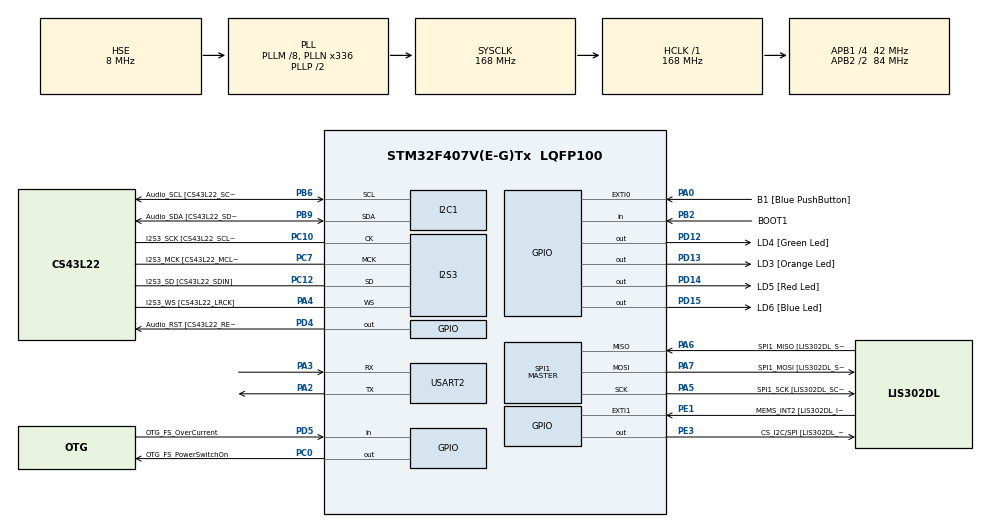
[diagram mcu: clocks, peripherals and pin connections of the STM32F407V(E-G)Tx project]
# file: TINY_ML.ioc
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ADC1.Channel-0\#ChannelRegularConversion=ADC_CHANNEL_TEMPSENSOR
ADC1.InjNumberOfConversion=0
ADC1.NbrOfConversionFlag=1
ADC1.Rank-0\#ChannelRegularConversion=1
ADC1.SamplingTime-0\#ChannelRegularConversion=ADC_SAMPLETIME_3CYCLES
ADC1.master=1
I2S3.AudioFreq-Half_Duplex_Master=I2S_AUDIOFREQ_96K
I2S3.ErrorAudioFreq=-2.34 %
I2S3.ErrorAudioFreq-Half_Duplex_Master=0.8 %
I2S3.FullDuplexMode=I2S_FULLDUPLEXMODE_DISABLE
I2S3.Instance=SPI$Index
I2S3.RealAudioFreq=93.75 KHz
I2S3.RealAudioFreq-Half_Duplex_Master=96.774 KHz
I2S3.VirtualMode=I2S_MODE_MASTER
Mcu.Family=STM32F4
Mcu.Name=STM32F407V(E-G)Tx
Mcu.Package=LQFP100
NVIC.PriorityGroup=NVIC_PRIORITYGROUP_0
PA0-WKUP.GPIO_Label=B1 [Blue PushButton]
PA0-WKUP.GPIO_ModeDefaultEXTI=GPIO_MODE_EVT_RISING
PA0-WKUP.GPIO_PuPd=GPIO_NOPULL
PA0-WKUP.Signal=GPXTI0
PA10.GPIO_Label=OTG_FS_ID
PA10.GPIO_Mode=GPIO_MODE_AF_PP
PA10.GPIO_PuPd=GPIO_NOPULL
PA10.GPIO_Speed=GPIO_SPEED_FREQ_LOW
PA10.Signal=USB_OTG_FS_ID
PA11.GPIO_Mode=GPIO_MODE_AF_PP
PA11.GPIO_PuPd=GPIO_NOPULL
PA11.GPIO_Speed=GPIO_SPEED_FREQ_VERY_HIGH
PA11.Signal=USB_OTG_FS_DM
PA12.GPIO_Mode=GPIO_MODE_AF_PP
PA12.GPIO_PuPd=GPIO_NOPULL
PA12.GPIO_Speed=GPIO_SPEED_FREQ_VERY_HIGH
PA12.Signal=USB_OTG_FS_DP
PA13.GPIO_Label=SWDIO
PA13.Mode=Serial_Wire
PA13.Signal=SYS_JTMS-SWDIO
PA14.GPIO_Label=SWCLK
PA14.Mode=Serial_Wire
PA14.Signal=SYS_JTCK-SWCLK
PA2.Mode=Asynchronous
PA2.Signal=USART2_TX
PA3.Mode=Asynchronous
PA3.Signal=USART2_RX
PA4.GPIO_Label=I2S3_WS [CS43L22_LRCK]
PA4.GPIO_Mode=GPIO_MODE_AF_PP
PA4.GPIO_PuPd=GPIO_NOPULL
PA4.GPIO_Speed=GPIO_SPEED_FREQ_LOW
PA4.Mode=Half_Duplex_Master
PA4.Signal=I2S3_WS
PA5.GPIO_Label=SPI1_SCK [LIS302DL_SCL/SPC]
PA5.GPIO_Mode=GPIO_MODE_AF_PP
PA5.GPIO_PuPd=GPIO_NOPULL
PA5.GPIO_Speed=GPIO_SPEED_FREQ_LOW
PA5.Mode=Full_Duplex_Master
PA5.Signal=SPI1_SCK
PA6.GPIO_Label=SPI1_MISO [LIS302DL_SDO]
PA6.GPIO_Mode=GPIO_MODE_AF_PP
PA6.GPIO_PuPd=GPIO_NOPULL
PA6.GPIO_Speed=GPIO_SPEED_FREQ_LOW
PA6.Mode=Full_Duplex_Master
PA6.Signal=SPI1_MISO
PA7.GPIO_Label=SPI1_MOSI [LIS302DL_SDA/SDI/SDO]
PA7.GPIO_Mode=GPIO_MODE_AF_PP
PA7.GPIO_PuPd=GPIO_NOPULL
PA7.GPIO_Speed=GPIO_SPEED_FREQ_LOW
PA7.Mode=Full_Duplex_Master
PA7.Signal=SPI1_MOSI
PB10.GPIO_Label=CLK_IN [MP45DT02_CLK]
PB10.GPIO_Mode=GPIO_MODE_AF_PP
PB10.GPIO_PuPd=GPIO_NOPULL
PB10.GPIO_Speed=GPIO_SPEED_FREQ_LOW
PB10.Signal=I2S2_CK
PB2.GPIO_Label=BOOT1
PB2.GPIO_Mode=GPIO_MODE_INPUT
PB2.GPIO_PuPd=GPIO_NOPULL
PB2.Signal=GPIO_Input
PB3.GPIO_Label=SWO
PB3.Signal=SYS_JTDO-SWO
PB6.GPIO_Label=Audio_SCL [CS43L22_SCL]
PB6.GPIO_Mode=GPIO_MODE_AF_OD
PB6.GPIO_Pu=GPIO_PULLUP
PB6.GPIO_PuPd=GPIO_NOPULL
PB6.GPIO_Speed=GPIO_SPEED_FREQ_LOW
PB6.Mode=I2C
PB6.Signal=I2C1_SCL
PB9.GPIO_Label=Audio_SDA [CS43L22_SDA]
PB9.GPIO_Mode=GPIO_MODE_AF_OD
PB9.GPIO_Pu=GPIO_PULLUP
PB9.GPIO_PuPd=GPIO_NOPULL
PB9.GPIO_Speed=GPIO_SPEED_FREQ_LOW
PB9.Mode=I2C
PB9.Signal=I2C1_SDA
PC0.GPIO_Label=OTG_FS_PowerSwitchOn
PC0.GPIO_PuPd=GPIO_NOPULL
PC0.GPIO_Speed=GPIO_SPEED_FREQ_LOW
PC0.PinState=GPIO_PIN_SET
PC0.Signal=GPIO_Output
PC10.GPIO_Label=I2S3_SCK [CS43L22_SCLK]
PC10.GPIO_Mode=GPIO_MODE_AF_PP
PC10.GPIO_PuPd=GPIO_NOPULL
PC10.GPIO_Speed=GPIO_SPEED_FREQ_LOW
PC10.Mode=Half_Duplex_Master
PC10.Signal=I2S3_CK
PC12.GPIO_Label=I2S3_SD [CS43L22_SDIN]
PC12.GPIO_Mode=GPIO_MODE_AF_PP
PC12.GPIO_PuPd=GPIO_NOPULL
PC12.GPIO_Speed=GPIO_SPEED_FREQ_LOW
PC12.Mode=Half_Duplex_Master
PC12.Signal=I2S3_SD
PC14-OSC32_IN.GPIO_Label=PC14-OSC32_IN
PC14-OSC32_IN.Mode=LSE-External-Oscillator
PC14-OSC32_IN.Signal=RCC_OSC32_IN
PC15-OSC32_OUT.GPIO_Label=PC15-OSC32_OUT
PC15-OSC32_OUT.Mode=LSE-External-Oscillator
PC15-OSC32_OUT.Signal=RCC_OSC32_OUT
PC3.GPIO_Label=PDM_OUT [MP45DT02_DOUT]
PC3.GPIO_Mode=GPIO_MODE_AF_PP
PC3.GPIO_PuPd=GPIO_NOPULL
PC3.GPIO_Speed=GPIO_SPEED_FREQ_LOW
PC3.Signal=I2S2_SD
PC7.GPIO_Label=I2S3_MCK [CS43L22_MCLK]
PC7.GPIO_Mode=GPIO_MODE_AF_PP
PC7.GPIO_PuPd=GPIO_NOPULL
PC7.GPIO_Speed=GPIO_SPEED_FREQ_LOW
PC7.Mode=Master_Clock_Activated
PC7.Signal=I2S3_MCK
PD12.GPIO_Label=LD4 [Green Led]
PD12.GPIO_PuPd=GPIO_NOPULL
PD12.GPIO_Speed=GPIO_SPEED_FREQ_LOW
PD12.Signal=GPIO_Output
PD13.GPIO_Label=LD3 [Orange Led]
PD13.GPIO_PuPd=GPIO_NOPULL
PD13.GPIO_Speed=GPIO_SPEED_FREQ_LOW
PD13.Signal=GPIO_Output
PD14.GPIO_Label=LD5 [Red Led]
PD14.GPIO_PuPd=GPIO_NOPULL
PD14.GPIO_Speed=GPIO_SPEED_FREQ_LOW
PD14.Signal=GPIO_Output
PD15.GPIO_Label=LD6 [Blue Led]
PD15.GPIO_PuPd=GPIO_NOPULL
PD15.GPIO_Speed=GPIO_SPEED_FREQ_LOW
PD15.Signal=GPIO_Output
PD4.GPIO_Label=Audio_RST [CS43L22_RESET]
PD4.GPIO_PuPd=GPIO_NOPULL
PD4.GPIO_Speed=GPIO_SPEED_FREQ_LOW
PD4.Signal=GPIO_Output
PD5.GPIO_Label=OTG_FS_OverCurrent
PD5.GPIO_Mode=GPIO_MODE_INPUT
PD5.GPIO_PuPd=GPIO_NOPULL
PD5.Signal=GPIO_Input
PE1.GPIO_Label=MEMS_INT2 [LIS302DL_INT2]
PE1.GPIO_ModeDefaultEXTI=GPIO_MODE_EVT_RISING
PE1.GPIO_PuPd=GPIO_NOPULL
PE1.Signal=GPXTI1
PE3.GPIO_Label=CS_I2C/SPI [LIS302DL_CS_I2C/SPI]
PE3.GPIO_PuPd=GPIO_NOPULL
PE3.GPIO_Speed=GPIO_SPEED_FREQ_LOW
PE3.Signal=GPIO_Output
PH0-OSC_IN.GPIO_Label=PH0-OSC_IN
PH0-OSC_IN.Mode=HSE-External-Oscillator
PH0-OSC_IN.Signal=RCC_OSC_IN
PH1-OSC_OUT.GPIO_Label=PH1-OSC_OUT
PH1-OSC_OUT.Mode=HSE-External-Oscillator
PH1-OSC_OUT.Signal=RCC_OSC_OUT
ProjectManager.HeapSize=0x800
ProjectManager.StackSize=0x800
ProjectManager.TargetToolchain=STM32CubeIDE
RCC.48MHZClocksFreq_Value=48000000
RCC.AHBFreq_Value=168000000
RCC.APB1CLKDivider=RCC_HCLK_DIV4
RCC.APB1Freq_Value=42000000
RCC.APB1TimFreq_Value=84000000
RCC.APB2CLKDivider=RCC_HCLK_DIV2
RCC.APB2Freq_Value=84000000
RCC.APB2TimFreq_Value=168000000
RCC.CortexFreq_Value=168000000
RCC.HCLKFreq_Value=168000000
RCC.HSE_VALUE=8000000
RCC.HSI_VALUE=16000000
RCC.PLLM=8
RCC.PLLN=336
RCC.PLLQ=7
RCC.PLLSourceVirtual=RCC_PLLSOURCE_HSE
RCC.SYSCLKFreq_VALUE=168000000
RCC.SYSCLKSource=RCC_SYSCLKSOURCE_PLLCLK
RCC.VCOOutputFreq_Value=336000000
SPI1.BaudRatePrescaler-Full_Duplex_Master=SPI_BAUDRATEPRESCALER_2
SPI1.CalculateBaudRate-Full_Duplex_Master=42.0 MBits/s
SPI1.Direction=SPI_DIRECTION_2LINES
SPI1.Mode=SPI_MODE_MASTER
SPI1.Mode-Full_Duplex_Master=SPI_MODE_MASTER
SPI1.VirtualType=VM_MASTER
STMicroelectronics.X-CUBE-AI.10.2.0.ActivationBufferSizeList=1568
STMicroelectronics.X-CUBE-AI.10.2.0.ActivationBuffers=pool0
STMicroelectronics.X-CUBE-AI.10.2.0.ActivationNames=pool0
STMicroelectronics.X-CUBE-AI.10.2.0.ActivationSizes=AI_NETWORK_DATA_ACTIVATION_1_SIZE
STMicroelectronics.X-CUBE-AI.10.2.0.ApplicationCcDeviceJjApplication=ApplicationTemplate
STMicroelectronics.X-CUBE-AI.10.2.0.HeapSize=0x800
STMicroelectronics.X-CUBE-AI.10.2.0.InternalRamActivationBufferMaxSize=AI_NETWORK_DATA_ACTIVATIONS_SIZE
STMicroelectronics.X-CUBE-AI.10.2.0.LatestDirectoryUsed-cd3e9f3ec1306564e1af1a7b050c598ac2e4dcf55a18b86473ae98bc0757c0e3=C\:\\Users\\DELL\\Downloads
STMicroelectronics.X-CUBE-AI.10.2.0.MaximumNumberOfInputLayer=1
STMicroelectronics.X-CUBE-AI.10.2.0.MaximumNumberOfOutputLayer=1
STMicroelectronics.X-CUBE-AI.10.2.0.MaximumSizeOfInputLayer=1
STMicroelectronics.X-CUBE-AI.10.2.0.MaximumSizeOfOutputLayer=1
STMicroelectronics.X-CUBE-AI.10.2.0.ModelActualCompression-cd3e9f3ec1306564e1af1a7b050c598ac2e4dcf55a18b86473ae98bc0757c0e3=0.0
STMicroelectronics.X-CUBE-AI.10.2.0.ModelCompression-cd3e9f3ec1306564e1af1a7b050c598ac2e4dcf55a18b86473ae98bc0757c0e3=None
STMicroelectronics.X-CUBE-AI.10.2.0.ModelFlashOccupation-cd3e9f3ec1306564e1af1a7b050c598ac2e4dcf55a18b86473ae98bc0757c0e3=10712
STMicroelectronics.X-CUBE-AI.10.2.0.ModelHashList=cd3e9f3ec1306564e1af1a7b050c598ac2e4dcf55a18b86473ae98bc0757c0e3
STMicroelectronics.X-CUBE-AI.10.2.0.ModelKind-cd3e9f3ec1306564e1af1a7b050c598ac2e4dcf55a18b86473ae98bc0757c0e3=TFLITE
STMicroelectronics.X-CUBE-AI.10.2.0.ModelMacc-cd3e9f3ec1306564e1af1a7b050c598ac2e4dcf55a18b86473ae98bc0757c0e3=160
STMicroelectronics.X-CUBE-AI.10.2.0.ModelName-cd3e9f3ec1306564e1af1a7b050c598ac2e4dcf55a18b86473ae98bc0757c0e3=network
STMicroelectronics.X-CUBE-AI.10.2.0.ModelNameList=network
STMicroelectronics.X-CUBE-AI.10.2.0.ModelRamOccupation-cd3e9f3ec1306564e1af1a7b050c598ac2e4dcf55a18b86473ae98bc0757c0e3=1568
STMicroelectronics.X-CUBE-AI.10.2.0.ModelStructureFile-cd3e9f3ec1306564e1af1a7b050c598ac2e4dcf55a18b86473ae98bc0757c0e3=C\:\\Users\\DELL\\Downloads\\model.tflite
STMicroelectronics.X-CUBE-AI.10.2.0.ModelType-cd3e9f3ec1306564e1af1a7b050c598ac2e4dcf55a18b86473ae98bc0757c0e3=STM32Cube.AI MCU runtime
STMicroelectronics.X-CUBE-AI.10.2.0.ReadyForCodeGeneration=true
STMicroelectronics.X-CUBE-AI.10.2.0.StackSize=0x800
STMicroelectronics.X-CUBE-AI.10.2.0.WorkingBufferStartAddrList=0xFFFFFFFF
STMicroelectronics.X-CUBE-AI.10.2.0.XAaCUBEAaAICcArtificialOoIntelligenceJjCore=true
STMicroelectronics.X-CUBE-AI.10.2.0.copyWeightToRam=false
STMicroelectronics.X-CUBE-AI.10.2.0.customLayerConfigEnabled=false
STMicroelectronics.X-CUBE-AI.10.2.0.noOnnxIoTranspose=false
STMicroelectronics.X-CUBE-AI.10.2.0.useInputAllocation=true
STMicroelectronics.X-CUBE-AI.10.2.0.useOutputAllocation=true
USART2.VirtualMode=VM_ASYNC
VP_ADC1_TempSens_Input.Mode=IN-TempSens
VP_ADC1_Vref_Input.Mode=IN-Vrefint
VP_STMicroelectronics.X-CUBE-AI_VS_ArtificialOoIntelligenceJjXAaCUBEAaAI_10.2.0.Mode=ArtificialOoIntelligenceJjXAaCUBEAaAI
VP_STMicroelectronics.X-CUBE-AI_VS_DeviceJjApplication_10.2.0.Mode=DeviceJjApplication
board=STM32F407G-DISC1

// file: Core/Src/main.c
/* USER CODE BEGIN Header */
/* USER CODE END Header */
#include "main.h"
#include "app_x-cube-ai.h"

/* USER CODE BEGIN Includes */
#include <string.h>
#include <stdio.h>
#include "hardware_profile.h"
#include "adaptation_engine.h"
#include "model_manager.h"
/* USER CODE END Includes */

ADC_HandleTypeDef hadc1;
I2C_HandleTypeDef hi2c1;
I2S_HandleTypeDef hi2s3;
SPI_HandleTypeDef hspi1;
UART_HandleTypeDef huart2;

void SystemClock_Config(void);
static void MX_GPIO_Init(void);
static void MX_ADC1_Init(void);
static void MX_I2C1_Init(void);
static void MX_I2S3_Init(void);
static void MX_SPI1_Init(void);
static void MX_USART2_UART_Init(void);

int main(void)
{
    HAL_Init();
    SystemClock_Config();
    MX_GPIO_Init();
    MX_ADC1_Init();
    MX_I2C1_Init();
    MX_I2S3_Init();
    MX_SPI1_Init();
    MX_USART2_UART_Init();
    MX_X_CUBE_AI_Init();

    /* USER CODE BEGIN 2 */
    HardwareProfiler_Init();
    AdaptationEngine_Init();
    ModelManager_Init();

    char start[] = "STM32 USART2 START\r\n";
    HAL_UART_Transmit(&huart2, (uint8_t*)start, strlen(start), HAL_MAX_DELAY);

    int ai_ready = 0;
    if (ModelManager_TFLM_Init()) {
        ai_ready = 1;
        char ok[] = "AI INIT OK\r\n";
        HAL_UART_Transmit(&huart2, (uint8_t*)ok, strlen(ok), HAL_MAX_DELAY);
    } else {
        char fail[] = "AI INIT FAILED\r\n";
        HAL_UART_Transmit(&huart2, (uint8_t*)fail, strlen(fail), HAL_MAX_DELAY);
    }
    /* USER CODE END 2 */

    /* USER CODE BEGIN WHILE */
    while (1)
    {
        char msg[260];

        HardwareProfiler_Sample();
        HardwareState hw = HardwareProfiler_GetState();

        ModelVariant rule_selected = AdaptationEngine_Decide(hw);
        const char*  rule_model    = AdaptationEngine_ToString(rule_selected);

        if (ai_ready) {
            int ok = ModelManager_RunInference(
                hw.temperature_c,
                hw.cpu_load_percent);

            if (ok) {
                float o0 = ModelManager_GetOutput(0);
                float o1 = ModelManager_GetOutput(1);
                float o2 = ModelManager_GetOutput(2);

                int   pred = 0;
                float conf = o0;
                if (o1 > conf) { conf = o1; pred = 1; }
                if (o2 > conf) { conf = o2; pred = 2; }

                const char* ai_model =
                    (pred == 0) ? "STANDARD_INT8"  :
                    (pred == 1) ? "PRUNED_VARIANT"  :
                                  "MIXED_PRECISION";

                ModelVariant final_decision;
                const char*  decision_src;

                if (conf >= 0.75f) {
                    final_decision = (ModelVariant)pred;
                    decision_src   = "AI";
                } else {
                    final_decision = rule_selected;
                    decision_src   = "RULE";
                }

//                const char* conf_label =
//                    (conf > 0.85f) ? "High"   :
//                    (conf > 0.60f) ? "Medium" : "Low";

                sprintf(msg,
                    "[HW] T=%.2fC | V=%.2fV | CPU=%.2f%% | "
                    "AI=%s(%.3f) | Rule=%s | Decided=%s | Src=%s\r\n",
                    hw.temperature_c, hw.vcc_volts, hw.cpu_load_percent,
                    ai_model, conf,
                    rule_model,
                    AdaptationEngine_ToString(final_decision),
                    decision_src);
            } else {
                sprintf(msg,
                    "[HW] T=%.2fC | V=%.2fV | CPU=%.2f%% | "
                    "Rule=%s | AI=FAILED\r\n",
                    hw.temperature_c, hw.vcc_volts, hw.cpu_load_percent,
                    rule_model);
            }
        } else {
            sprintf(msg,
                "[HW] T=%.2fC | V=%.2fV | CPU=%.2f%% | "
                "Rule=%s | AI=NOT_READY\r\n",
                hw.temperature_c, hw.vcc_volts, hw.cpu_load_percent,
                rule_model);
        }

        HAL_UART_Transmit(&huart2, (uint8_t*)msg, strlen(msg), HAL_MAX_DELAY);
        HAL_GPIO_TogglePin(GPIOD, GPIO_PIN_12);
        HAL_Delay(2000);
    }
    /* USER CODE END WHILE */
}

void SystemClock_Config(void)
{
    RCC_OscInitTypeDef RCC_OscInitStruct = {0};
    RCC_ClkInitTypeDef RCC_ClkInitStruct = {0};
    __HAL_RCC_PWR_CLK_ENABLE();
    __HAL_PWR_VOLTAGESCALING_CONFIG(PWR_REGULATOR_VOLTAGE_SCALE1);
    RCC_OscInitStruct.OscillatorType = RCC_OSCILLATORTYPE_HSE;
    RCC_OscInitStruct.HSEState       = RCC_HSE_ON;
    RCC_OscInitStruct.PLL.PLLState   = RCC_PLL_ON;
    RCC_OscInitStruct.PLL.PLLSource  = RCC_PLLSOURCE_HSE;
    RCC_OscInitStruct.PLL.PLLM       = 8;
    RCC_OscInitStruct.PLL.PLLN       = 336;
    RCC_OscInitStruct.PLL.PLLP       = RCC_PLLP_DIV2;
    RCC_OscInitStruct.PLL.PLLQ       = 7;
    if (HAL_RCC_OscConfig(&RCC_OscInitStruct) != HAL_OK) Error_Handler();
    RCC_ClkInitStruct.ClockType      = RCC_CLOCKTYPE_HCLK | RCC_CLOCKTYPE_SYSCLK
                                     | RCC_CLOCKTYPE_PCLK1 | RCC_CLOCKTYPE_PCLK2;
    RCC_ClkInitStruct.SYSCLKSource   = RCC_SYSCLKSOURCE_PLLCLK;
    RCC_ClkInitStruct.AHBCLKDivider  = RCC_SYSCLK_DIV1;
    RCC_ClkInitStruct.APB1CLKDivider = RCC_HCLK_DIV4;
    RCC_ClkInitStruct.APB2CLKDivider = RCC_HCLK_DIV2;
    if (HAL_RCC_ClockConfig(&RCC_ClkInitStruct, FLASH_LATENCY_5) != HAL_OK)
        Error_Handler();
}

static void MX_ADC1_Init(void)
{
    ADC_ChannelConfTypeDef sConfig = {0};
    hadc1.Instance                   = ADC1;
    hadc1.Init.ClockPrescaler        = ADC_CLOCK_SYNC_PCLK_DIV4;
    hadc1.Init.Resolution            = ADC_RESOLUTION_12B;
    hadc1.Init.ScanConvMode          = DISABLE;
    hadc1.Init.ContinuousConvMode    = DISABLE;
    hadc1.Init.DiscontinuousConvMode = DISABLE;
    hadc1.Init.ExternalTrigConvEdge  = ADC_EXTERNALTRIGCONVEDGE_NONE;
    hadc1.Init.ExternalTrigConv      = ADC_SOFTWARE_START;
    hadc1.Init.DataAlign             = ADC_DATAALIGN_RIGHT;
    hadc1.Init.NbrOfConversion       = 1;
    hadc1.Init.DMAContinuousRequests = DISABLE;
    hadc1.Init.EOCSelection          = ADC_EOC_SINGLE_CONV;
    if (HAL_ADC_Init(&hadc1) != HAL_OK) Error_Handler();
    sConfig.Channel      = ADC_CHANNEL_TEMPSENSOR;
    sConfig.Rank         = 1;
    sConfig.SamplingTime = ADC_SAMPLETIME_3CYCLES;
    if (HAL_ADC_ConfigChannel(&hadc1, &sConfig) != HAL_OK) Error_Handler();
}

static void MX_I2C1_Init(void)
{
    hi2c1.Instance             = I2C1;
    hi2c1.Init.ClockSpeed      = 100000;
    hi2c1.Init.DutyCycle       = I2C_DUTYCYCLE_2;
    hi2c1.Init.OwnAddress1     = 0;
    hi2c1.Init.AddressingMode  = I2C_ADDRESSINGMODE_7BIT;
    hi2c1.Init.DualAddressMode = I2C_DUALADDRESS_DISABLE;
    hi2c1.Init.OwnAddress2     = 0;
    hi2c1.Init.GeneralCallMode = I2C_GENERALCALL_DISABLE;
    hi2c1.Init.NoStretchMode   = I2C_NOSTRETCH_DISABLE;
    if (HAL_I2C_Init(&hi2c1) != HAL_OK) Error_Handler();
}

static void MX_I2S3_Init(void)
{
    hi2s3.Instance            = SPI3;
    hi2s3.Init.Mode           = I2S_MODE_MASTER_TX;
    hi2s3.Init.Standard       = I2S_STANDARD_PHILIPS;
    hi2s3.Init.DataFormat     = I2S_DATAFORMAT_16B;
    hi2s3.Init.MCLKOutput     = I2S_MCLKOUTPUT_ENABLE;
    hi2s3.Init.AudioFreq      = I2S_AUDIOFREQ_96K;
    hi2s3.Init.CPOL           = I2S_CPOL_LOW;
    hi2s3.Init.ClockSource    = I2S_CLOCK_PLL;
    hi2s3.Init.FullDuplexMode = I2S_FULLDUPLEXMODE_DISABLE;
    if (HAL_I2S_Init(&hi2s3) != HAL_OK) Error_Handler();
}

static void MX_SPI1_Init(void)
{
    hspi1.Instance               = SPI1;
    hspi1.Init.Mode              = SPI_MODE_MASTER;
    hspi1.Init.Direction         = SPI_DIRECTION_2LINES;
    hspi1.Init.DataSize          = SPI_DATASIZE_8BIT;
    hspi1.Init.CLKPolarity       = SPI_POLARITY_LOW;
    hspi1.Init.CLKPhase          = SPI_PHASE_1EDGE;
    hspi1.Init.NSS               = SPI_NSS_SOFT;
    hspi1.Init.BaudRatePrescaler = SPI_BAUDRATEPRESCALER_2;
    hspi1.Init.FirstBit          = SPI_FIRSTBIT_MSB;
    hspi1.Init.TIMode            = SPI_TIMODE_DISABLE;
    hspi1.Init.CRCCalculation    = SPI_CRCCALCULATION_DISABLE;
    hspi1.Init.CRCPolynomial     = 10;
    if (HAL_SPI_Init(&hspi1) != HAL_OK) Error_Handler();
}

static void MX_USART2_UART_Init(void)
{
    huart2.Instance          = USART2;
    huart2.Init.BaudRate     = 115200;
    huart2.Init.WordLength   = UART_WORDLENGTH_8B;
    huart2.Init.StopBits     = UART_STOPBITS_1;
    huart2.Init.Parity       = UART_PARITY_NONE;
    huart2.Init.Mode         = UART_MODE_TX_RX;
    huart2.Init.HwFlowCtl    = UART_HWCONTROL_NONE;
    huart2.Init.OverSampling = UART_OVERSAMPLING_16;
    if (HAL_UART_Init(&huart2) != HAL_OK) Error_Handler();
}

static void MX_GPIO_Init(void)
{
    GPIO_InitTypeDef GPIO_InitStruct = {0};
    __HAL_RCC_GPIOE_CLK_ENABLE();
    __HAL_RCC_GPIOC_CLK_ENABLE();
    __HAL_RCC_GPIOH_CLK_ENABLE();
    __HAL_RCC_GPIOA_CLK_ENABLE();
    __HAL_RCC_GPIOB_CLK_ENABLE();
    __HAL_RCC_GPIOD_CLK_ENABLE();

    HAL_GPIO_WritePin(CS_I2C_SPI_GPIO_Port, CS_I2C_SPI_Pin, GPIO_PIN_RESET);
    HAL_GPIO_WritePin(OTG_FS_PowerSwitchOn_GPIO_Port, OTG_FS_PowerSwitchOn_Pin, GPIO_PIN_SET);
    HAL_GPIO_WritePin(GPIOD, LD4_Pin|LD3_Pin|LD5_Pin|LD6_Pin|Audio_RST_Pin, GPIO_PIN_RESET);

    GPIO_InitStruct.Mode  = GPIO_MODE_OUTPUT_PP;
    GPIO_InitStruct.Pull  = GPIO_NOPULL;
    GPIO_InitStruct.Speed = GPIO_SPEED_FREQ_LOW;

    GPIO_InitStruct.Pin = CS_I2C_SPI_Pin;
    HAL_GPIO_Init(CS_I2C_SPI_GPIO_Port, &GPIO_InitStruct);

    GPIO_InitStruct.Pin = OTG_FS_PowerSwitchOn_Pin;
    HAL_GPIO_Init(OTG_FS_PowerSwitchOn_GPIO_Port, &GPIO_InitStruct);

    GPIO_InitStruct.Pin       = PDM_OUT_Pin;
    GPIO_InitStruct.Mode      = GPIO_MODE_AF_PP;
    GPIO_InitStruct.Alternate = GPIO_AF5_SPI2;
    HAL_GPIO_Init(PDM_OUT_GPIO_Port, &GPIO_InitStruct);

    GPIO_InitStruct.Pin  = B1_Pin;
    GPIO_InitStruct.Mode = GPIO_MODE_EVT_RISING;
    GPIO_InitStruct.Pull = GPIO_NOPULL;
    HAL_GPIO_Init(B1_GPIO_Port, &GPIO_InitStruct);

    GPIO_InitStruct.Pin  = BOOT1_Pin;
    GPIO_InitStruct.Mode = GPIO_MODE_INPUT;
    HAL_GPIO_Init(BOOT1_GPIO_Port, &GPIO_InitStruct);

    GPIO_InitStruct.Pin       = CLK_IN_Pin;
    GPIO_InitStruct.Mode      = GPIO_MODE_AF_PP;
    GPIO_InitStruct.Alternate = GPIO_AF5_SPI2;
    HAL_GPIO_Init(CLK_IN_GPIO_Port, &GPIO_InitStruct);

    GPIO_InitStruct.Pin   = LD4_Pin|LD3_Pin|LD5_Pin|LD6_Pin|Audio_RST_Pin;
    GPIO_InitStruct.Mode  = GPIO_MODE_OUTPUT_PP;
    GPIO_InitStruct.Pull  = GPIO_NOPULL;
    GPIO_InitStruct.Speed = GPIO_SPEED_FREQ_LOW;
    HAL_GPIO_Init(GPIOD, &GPIO_InitStruct);

    GPIO_InitStruct.Pin       = OTG_FS_ID_Pin;
    GPIO_InitStruct.Mode      = GPIO_MODE_AF_PP;
    GPIO_InitStruct.Alternate = GPIO_AF10_OTG_FS;
    HAL_GPIO_Init(OTG_FS_ID_GPIO_Port, &GPIO_InitStruct);

    GPIO_InitStruct.Pin       = GPIO_PIN_11|GPIO_PIN_12;
    GPIO_InitStruct.Speed     = GPIO_SPEED_FREQ_VERY_HIGH;
    GPIO_InitStruct.Alternate = GPIO_AF10_OTG_FS;
    HAL_GPIO_Init(GPIOA, &GPIO_InitStruct);

    GPIO_InitStruct.Pin  = OTG_FS_OverCurrent_Pin;
    GPIO_InitStruct.Mode = GPIO_MODE_INPUT;
    GPIO_InitStruct.Pull = GPIO_NOPULL;
    HAL_GPIO_Init(OTG_FS_OverCurrent_GPIO_Port, &GPIO_InitStruct);

    GPIO_InitStruct.Pin  = MEMS_INT2_Pin;
    GPIO_InitStruct.Mode = GPIO_MODE_EVT_RISING;
    HAL_GPIO_Init(MEMS_INT2_GPIO_Port, &GPIO_InitStruct);
}

void Error_Handler(void) { while(1); }
